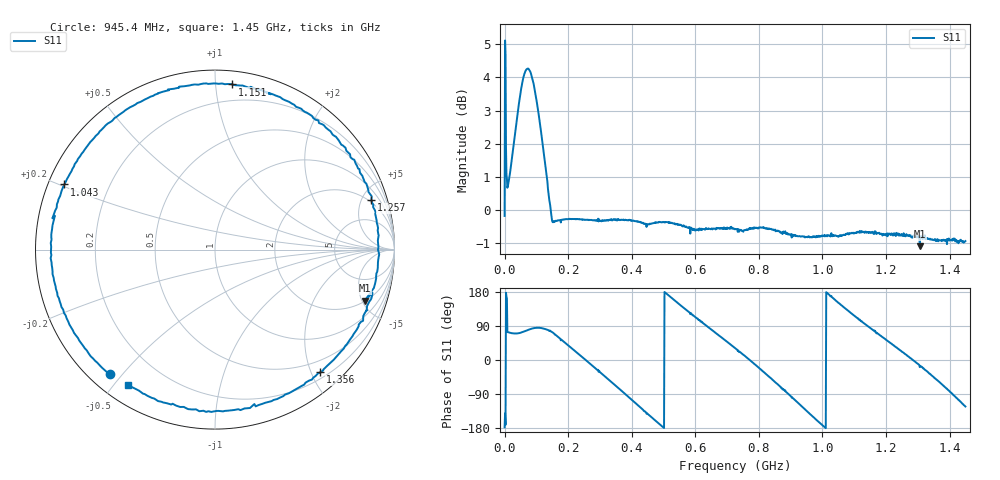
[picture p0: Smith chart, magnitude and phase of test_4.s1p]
! Created with skrf 1.11.0 (http://scikit-rf.org).
# Hz S RI R 50.0
!freq ReS11 ImS11
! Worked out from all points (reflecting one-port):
!   1001 points, 50 kHz to 1.45 GHz, reference 50 ohm
!   lowest |S11| = -1.1 dB at 1.306 GHz (marker M1), VSWR 15.89, Z = 103 - j263 ohm
!   phase of S11 starts at -178 deg and turns -1025 deg over the sweep
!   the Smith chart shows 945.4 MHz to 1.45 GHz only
!   S11 on the Smith chart (normalised r, x): 945.4 MHz: 0.06, -0.46; 1.043 GHz: 0.05, +0.21; 1.151 GHz: 0.09, +1.10; 1.257 GHz: 1.78, +5.95; 1.356 GHz: 0.30, -2.14; 1.45 GHz: 0.07, -0.54
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50000  -0.9783 -0.0415
1.599945e7  0.347 1.074
6.819765e7  0.3547 1.59
1.16046e8  0.1304 1.291
1.812938e8  0.597 0.7599
2.262422e8  0.9086 0.3367
2.682908e8  0.953 -0.1569
3.132392e8  0.723 -0.6391
3.625375e8  0.2106 -0.9418
4.103858e8  -0.3687 -0.8884
4.64034e8  -0.844 -0.4447
5.437812e8  -0.831 0.4603
6.351281e8  -0.00593 0.9362
7.25025e8  0.7949 0.4918
8.076722e8  0.846 -0.4107
8.598704e8  0.398 -0.8415
9.062688e8  -0.1566 -0.9044
9.454174e8  -0.5873 -0.6935
9.947157e8  -0.892 -0.1899
1.042564e9  -0.8394 0.3631
1.087512e9  -0.5366 0.7491
1.15131e9  0.0951 0.9203
1.257157e9  0.8711 0.2757
1.268756e9  0.9002 0.1634
1.306455e9  0.8345 -0.2842
1.355753e9  0.587 -0.6828
1.405052e9  0.0537 -0.8989
1.45e9  -0.4857 -0.7546
